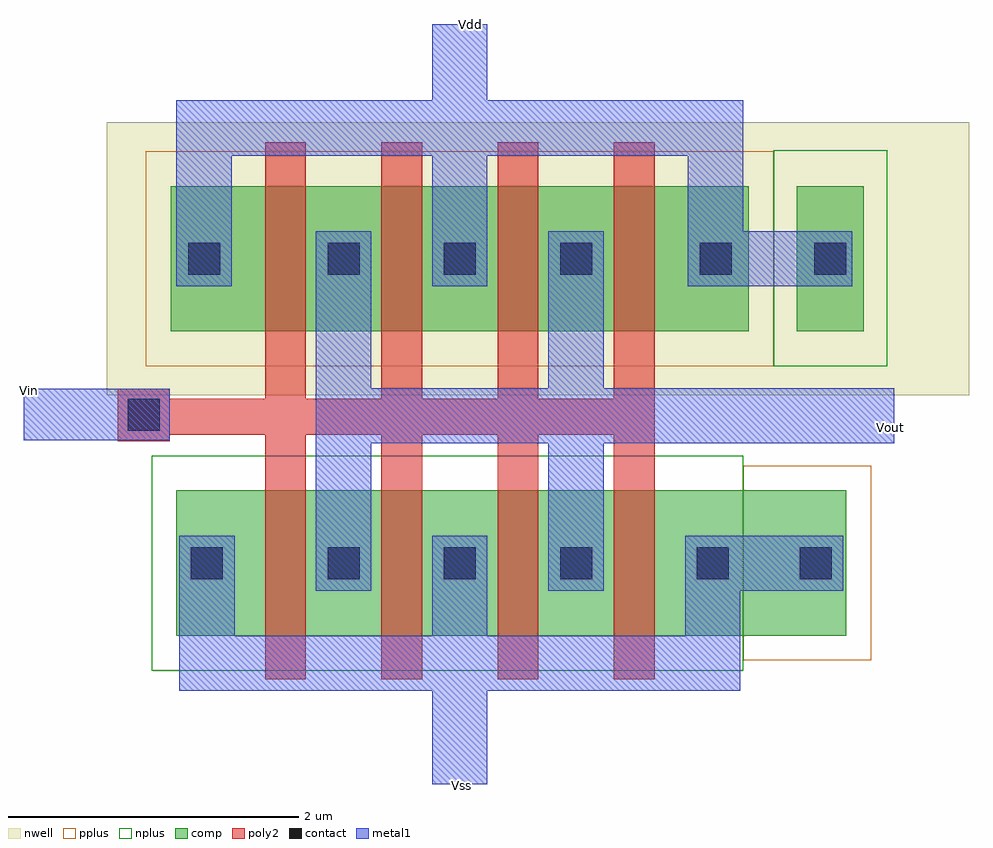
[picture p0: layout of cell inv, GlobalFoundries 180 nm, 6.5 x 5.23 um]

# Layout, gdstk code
import gdstk
lib = gdstk.Library(unit=1e-6, precision=5e-09)
def R(c, l, rs):  # rectangles x0, y0, x1, y1
    for r in rs: c.add(gdstk.rectangle(r[:2], r[2:], *l))
def A(c, l, x, y, w, h, nx, ny, dx, dy):  # array of equal rectangles
    R(c, l, [(x+i*dx, y+j*dy, x+i*dx+w, y+j*dy+h) for i in range(nx) for j in range(ny)])
nwell = (21, 0)
comp = (22, 0)
poly2 = (30, 0)
pplus = (31, 0)
nplus = (32, 0)
contact = (33, 0)
metal1 = (34, 0)

pfet_1 = lib.new_cell('pfet$1')
R(pfet_1, nwell, [(-0.9,-0.74,5.035,1.14)])
R(pfet_1, comp, [(-0.46,-0.3,0,0.7), (0,-0.3,3.06,0.7), (3.06,-0.3,3.52,0.7)])
R(pfet_1, poly2, [(0.99,-1.15,1.27,1), (1.79,-1.15,2.07,1), (2.59,-1.135,2.87,1), (0.19,-1.12,0.47,1)])
R(pfet_1, pplus, [(-0.63,-0.54,3.69,0.94)])
A(pfet_1, contact, 0.62, 0.09, 0.22, 0.22, 3, 1, 0.8, 0)
R(pfet_1, contact, [(-0.34,0.09,-0.12,0.31), (3.18,0.09,3.4,0.31)])
R(pfet_1, metal1, [(0.54,-1.07,0.92,0.39), (2.14,-1.02,2.52,0.39), (-0.42,0.01,-0.04,1.065), (1.34,0.01,1.72,1.815), (3.1,0.01,3.48,1.215)])

nfet = lib.new_cell('nfet')
R(nfet, comp, [(-0.44,0,-0.02,1), (-0.02,0,3.04,1), (3.04,0,3.46,1), (3.46,0,4.17,1)])
A(nfet, poly2, 0.17, -0.3, 0.28, 1.6, 4, 1, 0.8, 0)
R(nfet, pplus, [(3.46,-0.17,4.34,1.17)])
R(nfet, nplus, [(-0.61,-0.24,3.46,1.24)])
A(nfet, contact, 0.6, 0.39, 0.22, 0.22, 3, 1, 0.8, 0)
R(nfet, contact, [(-0.34,0.39,-0.12,0.61), (3.14,0.39,3.36,0.61), (3.85,0.39,4.07,0.61)])
R(nfet, metal1, [(1.32,-1.02,1.7,0.69), (3.06,-0.36,3.44,0.69), (-0.42,-0.35,-0.04,0.69), (0.52,0.31,0.9,1.685), (2.12,0.31,2.5,1.735), (3.37,0.31,4.15,0.69)])

inv = lib.new_cell('inv')
R(inv, comp, [(-0.96,1.045,-0.5,2.045)])
R(inv, poly2, [(-5.635,0.29,-5.275,0.65), (-5.525,0.335,-1.945,0.58)])
R(inv, nplus, [(-1.12,0.805,-0.34,2.29)])
R(inv, contact, [(-5.565,0.36,-5.345,0.58), (-0.84,1.435,-0.62,1.655)])
R(inv, metal1, [(-5.21,-1.43,-1.35,-1.05), (-4.265,0.275,-0.29,0.655), (-6.28,0.295,-5.275,0.65), (-1.435,1.355,-0.58,1.735), (-5.23,2.255,-1.33,2.635)])
inv.add(gdstk.Reference(pfet_1, (-4.81,1.345)))
inv.add(gdstk.Reference(nfet, (-4.79,-1.05)))
inv.add(gdstk.Label('Vin', (-6.24,0.64), layer=34, texttype=0))
inv.add(gdstk.Label('Vdd', (-3.205,3.155), layer=34, texttype=0))
inv.add(gdstk.Label('Vss', (-3.27,-2.08), layer=34, texttype=0))
inv.add(gdstk.Label('Vout', (-0.315,0.385), layer=34, texttype=0))

lib.write_gds('inv.gds')
